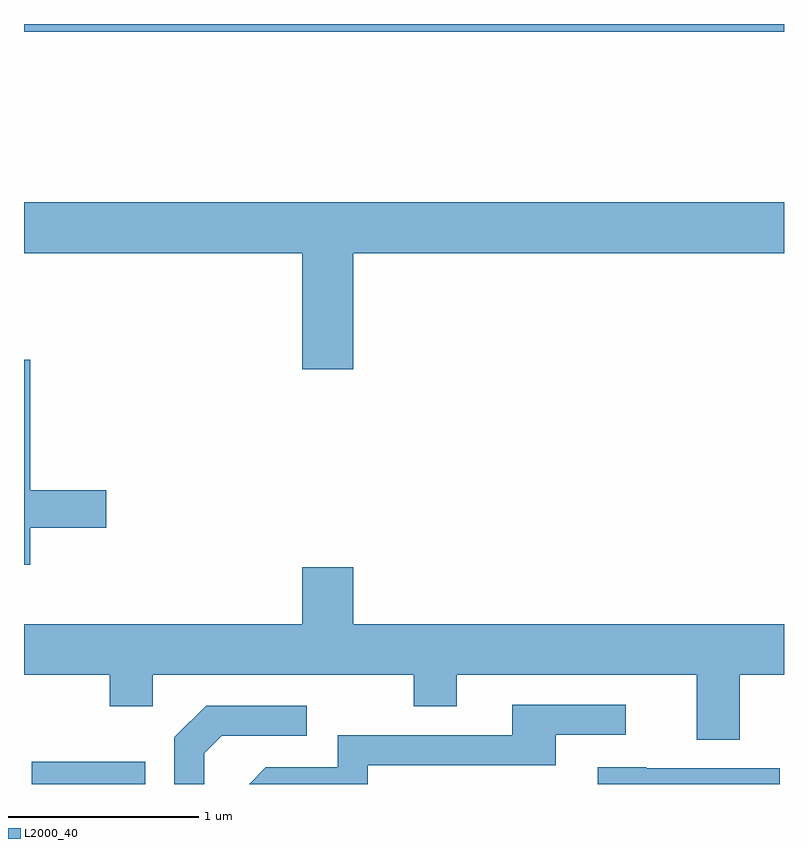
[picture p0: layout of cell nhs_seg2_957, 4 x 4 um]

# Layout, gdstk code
import gdstk
lib = gdstk.Library(unit=1e-6, precision=1e-09)
def R(c, l, rs):  # rectangles x0, y0, x1, y1
    for r in rs: c.add(gdstk.rectangle(r[:2], r[2:], *l))
def P(c, l, *ps):  # polygons
    for p in ps: c.add(gdstk.Polygon(p, *l))
L2000_40 = (2000, 40)

nhs_seg2_957 = lib.new_cell('nhs_seg2_957')
R(nhs_seg2_957, L2000_40, [(213.651,987.802,214.249,987.919), (213.611,991.761,217.611,991.802)])
P(nhs_seg2_957, L2000_40, [(215.344,990.596),(217.611,990.596),(217.611,990.864),(213.611,990.864),(213.611,990.596),(215.076,990.596),(215.076,989.986),(215.344,989.986)],
  [(213.644,989.151),(214.044,989.151),(214.044,989.349),(213.644,989.349),(213.644,990.034),(213.611,990.034),(213.611,988.956),(213.644,988.956)],
  [(217.379,988.376),(217.611,988.376),(217.611,988.644),(215.344,988.644),(215.344,988.944),(215.076,988.944),(215.076,988.644),(213.611,988.644),(213.611,988.376),(214.061,988.376),(214.061,988.211),(214.289,988.211),(214.289,988.376),(215.661,988.376),(215.661,988.211),(215.889,988.211),(215.889,988.376),(217.151,988.376),(217.151,988.036),(217.379,988.036)],
  [(215.419,987.901),(216.409,987.901),(216.409,988.061),(216.778,988.061),(216.778,988.219),(216.181,988.219),(216.181,988.059),(215.261,988.059),(215.261,987.889),(214.884,987.889),(214.796,987.802),(215.419,987.802)],
  [(214.559,987.964),(214.652,988.056),(215.098,988.056),(215.098,988.214),(214.569,988.214),(214.401,988.047),(214.401,987.802),(214.559,987.802)],
  [(217.589,987.884),(216.885,987.884),(216.885,987.889),(216.631,987.889),(216.631,987.802),(217.589,987.802)])

lib.write_gds('nhs_seg2_957.gds')
